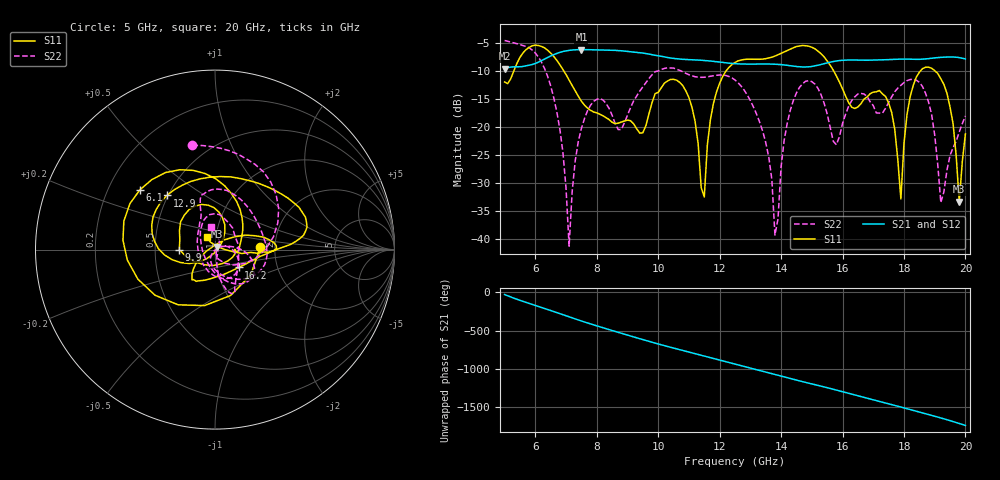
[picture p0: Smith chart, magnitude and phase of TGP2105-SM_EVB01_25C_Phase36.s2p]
! Date: Wednesday, June 05, 2013  1:51 PM
! Filename: C:\Data\Mike_Arnold\TGP2105-SM\Over_Temp\TGP2105-SM_EVB01_25C_Phase36.s2p
! Comments:
!^VDC(V):5.000
!^VDC(mA):0.078
!%Freq(GHz),S11(dB),S11(ang),S21(dB),S21(ang),S12(dB),S12(ang),S22(dB),S22(ang)
# GHz  S  DB  R  50
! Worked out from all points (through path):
!   151 points, 5 GHz to 20 GHz, reference 50 ohm
!   highest |S21| = -6.16 dB at 7.5 GHz (marker M1); lowest = -9.6 dB at 5 GHz (marker M2)
!   lowest |S11| = -33.3 dB at 19.8 GHz (marker M3), VSWR 1.04, Z = 51.3 + j1.77 ohm
!   |S11| at or under -10 dB: 6.93 GHz to 12.21 GHz (5.276 GHz wide, 55.1 % of centre); 15.71 GHz to 18.53 GHz (2.821 GHz wide, 16.5 % of centre); 19.02 GHz to end of sweep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
!   |S22| runs from -41.3 to -4.5 dB; largest |S21 - S12| = 0.0021
!   S11 on the Smith chart (normalised r, x): 5 GHz: 1.67, +0.04; 6.1 GHz: 0.34, +0.31; 9.9 GHz: 0.67, +0.00; 12.9 GHz: 0.49, +0.35; 16.2 GHz: 1.27, -0.26; 20 GHz: 0.90, +0.13
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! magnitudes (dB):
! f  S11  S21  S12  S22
! 5 GHz  -12.0  -9.6  -9.6  -4.5
! 6.1 GHz  -5.4  -8.4  -8.4  -7.5
! 6.8 GHz  -8.9  -6.7  -6.7  -20.5
! 7.1 GHz  -11.6  -6.3  -6.3  -41.3
! 7.5 GHz  -15.4  -6.2  -6.2  -20.3
! 9.9 GHz  -14.0  -7.2  -7.2  -10.1
! 10 GHz  -13.8  -7.3  -7.3  -10.0
! 11 GHz  -14.7  -8.0  -8.0  -10.7
! 11.5 GHz  -32.5  -8.1  -8.1  -11.1
! 11.8 GHz  -15.7  -8.3  -8.3  -10.8
! 12.5 GHz  -8.5  -8.7  -8.7  -11.6
! 12.9 GHz  -7.9  -8.8  -8.8  -14.3
! 13.8 GHz  -7.3  -8.8  -8.8  -39.3
! 14.3 GHz  -6.0  -9.0  -9.1  -17.0
! 15 GHz  -5.7  -9.2  -9.2  -11.9
! 16.2 GHz  -15.7  -8.0  -8.1  -16.3
! 17.5 GHz  -15.7  -8.0  -8.0  -15.6
! 17.9 GHz  -32.9  -7.9  -7.9  -12.5
! 18.3 GHz  -12.6  -7.9  -7.9  -11.5
! 19.1 GHz  -10.4  -7.6  -7.6  -26.7
! 19.8 GHz  -33.3  -7.6  -7.6  -20.9
! 20 GHz  -21.2  -7.8  -7.9  -18.0
